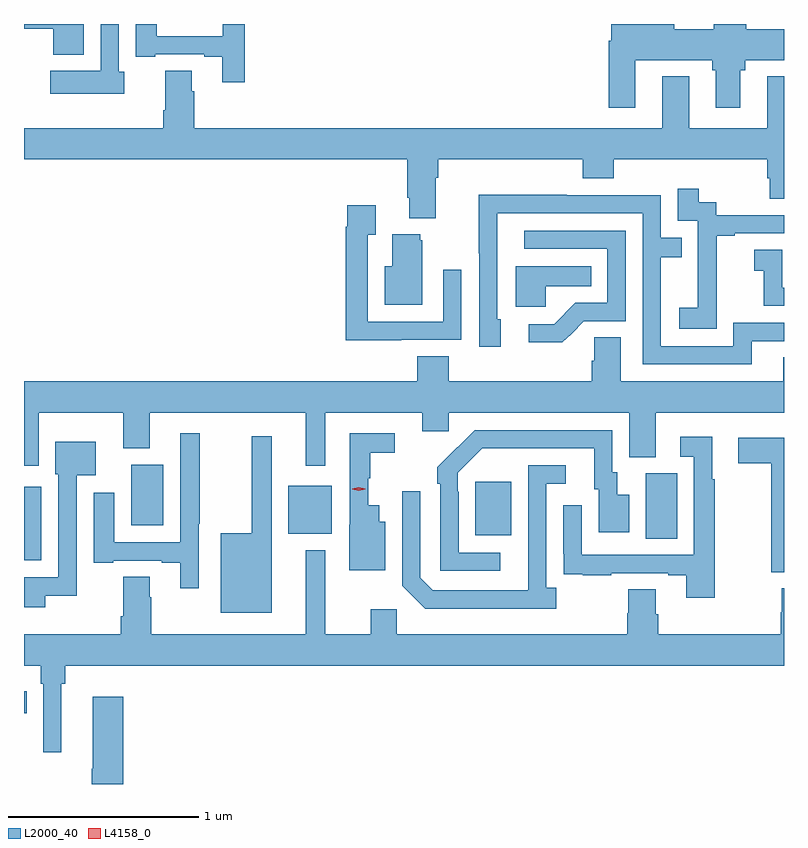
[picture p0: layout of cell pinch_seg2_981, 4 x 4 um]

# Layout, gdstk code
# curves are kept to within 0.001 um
import gdstk
lib = gdstk.Library(unit=1e-6, precision=1e-09)
def R(c, l, rs):  # rectangles x0, y0, x1, y1
    for r in rs: c.add(gdstk.rectangle(r[:2], r[2:], *l))
def P(c, l, *ps):  # polygons
    for p in ps: c.add(gdstk.Polygon(p, *l))
L2000_40 = (2000, 40)
L4158_0 = (4158, 0)

pinch_seg2_981 = lib.new_cell('pinch_seg2_981')
R(pinch_seg2_981, L2000_40, [(239.123,586.114,239.138,586.23), (239.123,586.919,239.215,587.305), (242.396,587.032,242.56,587.376), (241.499,587.051,241.687,587.332), (240.515,587.057,240.742,587.311), (239.687,587.102,239.857,587.422)])
P(pinch_seg2_981, L2000_40, [(242.341,589.55),(242.746,589.55),(242.746,589.497),(242.765,589.497),(242.765,589.299),(242.893,589.299),(242.893,589.497),(242.919,589.497),(242.919,589.55),(243.123,589.55),(243.123,589.714),(242.924,589.714),(242.924,589.741),(242.753,589.741),(242.753,589.714),(242.545,589.714),(242.545,589.741),(242.213,589.741),(242.213,589.654),(242.201,589.654),(242.201,589.299),(242.341,589.299)],
  [(239.437,589.741),(239.123,589.741),(239.123,589.715),(239.276,589.715),(239.276,589.58),(239.437,589.58)],
  [(239.65,589.491),(239.622,589.491),(239.622,589.741),(239.526,589.741),(239.526,589.495),(239.262,589.495),(239.262,589.373),(239.65,589.373)],
  [(240.284,589.741),(240.168,589.741),(240.168,589.677),(239.821,589.677),(239.821,589.741),(239.711,589.741),(239.711,589.569),(239.815,589.569),(239.815,589.581),(240.071,589.581),(240.071,589.569),(240.167,589.569),(240.167,589.434),(240.284,589.434)],
  [(241.291,588.932),(241.304,588.932),(241.304,589.028),(242.063,589.028),(242.063,588.929),(242.228,588.929),(242.228,589.028),(243.035,589.028),(243.035,588.93),(243.047,588.93),(243.047,588.82),(243.123,588.82),(243.123,589.465),(243.035,589.465),(243.035,589.192),(242.623,589.192),(242.623,589.465),(242.483,589.465),(242.483,589.192),(240.02,589.192),(240.02,589.388),(240.007,589.388),(240.007,589.496),(239.867,589.496),(239.867,589.288),(239.855,589.288),(239.855,589.192),(239.123,589.192),(239.123,589.028),(241.139,589.028),(241.139,588.826),(241.151,588.826),(241.151,588.719),(241.291,588.719)],
  [(242.769,588.343),(242.768,588.343),(242.768,588.627),(242.863,588.627),(242.863,588.639),(243.123,588.639),(243.123,588.735),(242.766,588.735),(242.766,588.804),(242.674,588.804),(242.674,588.874),(242.565,588.874),(242.565,588.705),(242.67,588.705),(242.67,588.476),(242.669,588.476),(242.669,588.247),(242.571,588.247),(242.571,588.137),(242.769,588.137)],
  [(242.953,588.072),(243.123,588.072),(243.123,588.168),(242.856,588.168),(242.856,588.045),(242.475,588.045),(242.475,588.514),(242.585,588.514),(242.585,588.615),(242.475,588.615),(242.475,588.84),(241.979,588.84),(241.979,588.842),(241.516,588.842),(241.516,588.535),(241.518,588.535),(241.518,588.042),(241.633,588.042),(241.633,588.186),(241.614,588.186),(241.614,588.49),(241.615,588.49),(241.615,588.744),(242.379,588.744),(242.379,587.949),(242.953,587.949)],
  [(241.109,588.078),(241.425,588.078),(241.425,588.448),(241.329,588.448),(241.329,588.174),(240.933,588.174),(240.933,588.631),(240.973,588.631),(240.973,588.787),(240.825,588.787),(240.825,588.674),(240.817,588.674),(240.817,588.077),(241.109,588.077)],
  [(242.005,588.112),(242.07,588.177),(242.289,588.177),(242.289,588.654),(241.755,588.654),(241.755,588.558),(242.193,588.558),(242.193,588.273),(242.024,588.273),(241.913,588.162),(241.779,588.162),(241.779,588.065),(241.957,588.065)],
  [(241.219,588.603),(241.208,588.603),(241.208,588.634),(241.061,588.634),(241.061,588.466),(241.022,588.466),(241.022,588.263),(241.219,588.263)],
  [(243.123,588.354),(243.114,588.354),(243.114,588.553),(242.967,588.553),(242.967,588.443),(243.016,588.443),(243.016,588.258),(243.123,588.258)],
  [(241.869,588.362),(242.108,588.362),(242.108,588.466),(241.712,588.466),(241.712,588.254),(241.869,588.254)],
  [(239.2,587.696),(239.645,587.696),(239.645,587.507),(239.785,587.507),(239.785,587.696),(240.605,587.696),(240.605,587.415),(240.709,587.415),(240.709,587.696),(241.22,587.696),(241.22,587.598),(241.359,587.598),(241.359,587.696),(242.309,587.696),(242.309,587.461),(242.449,587.461),(242.449,587.696),(243.123,587.696),(243.123,587.987),(243.119,587.987),(243.119,587.86),(242.263,587.86),(242.263,588.092),(242.124,588.092),(242.124,587.969),(242.111,587.969),(242.111,587.86),(241.358,587.86),(241.358,587.993),(241.193,587.993),(241.193,587.86),(239.123,587.86),(239.123,587.415),(239.2,587.415)],
  [(241.63,586.959),(241.41,586.959),(241.41,587.279),(241.407,587.279),(241.407,587.379),(241.536,587.508),(242.123,587.508),(242.123,587.292),(242.147,587.292),(242.147,587.067),(242.308,587.067),(242.308,587.263),(242.245,587.263),(242.245,587.382),(242.22,587.382),(242.22,587.604),(241.496,587.604),(241.299,587.409),(241.299,587.321),(241.314,587.321),(241.314,586.863),(241.63,586.863)],
  [(240.042,587.11),(240.047,587.11),(240.047,587.587),(239.946,587.587),(239.946,587.013),(239.599,587.013),(239.599,587.275),(239.489,587.275),(239.489,586.905),(239.593,586.905),(239.593,586.917),(239.849,586.917),(239.849,586.905),(239.945,586.905),(239.945,586.77),(240.042,586.77)],
  [(241.024,587.122),(240.994,587.122),(240.994,587.209),(240.935,587.209),(240.935,587.349),(240.946,587.349),(240.946,587.485),(241.075,587.485),(241.075,587.586),(240.837,587.586),(240.837,587.105),(240.836,587.105),(240.836,586.865),(241.024,586.865)],
  [(240.427,587.572),(240.321,587.572),(240.321,587.062),(240.158,587.062),(240.158,586.643),(240.427,586.643)],
  [(242.758,587.345),(242.746,587.345),(242.746,587.569),(242.577,587.569),(242.577,587.463),(242.649,587.463),(242.649,586.947),(242.058,586.947),(242.058,587.209),(241.962,587.209),(241.962,586.954),(241.963,586.954),(241.963,586.845),(242.065,586.845),(242.065,586.839),(242.213,586.839),(242.213,586.851),(242.513,586.851),(242.513,586.839),(242.609,586.839),(242.609,586.722),(242.758,586.722)],
  [(243.123,587.563),(242.883,587.563),(242.883,587.429),(243.055,587.429),(243.055,586.856),(243.123,586.856)],
  [(239.236,586.733),(239.4,586.733),(239.4,587.366),(239.5,587.366),(239.5,587.542),(239.288,587.542),(239.288,587.37),(239.304,587.37),(239.304,586.83),(239.123,586.83),(239.123,586.67),(239.236,586.67)],
  [(241.924,586.774),(241.872,586.774),(241.872,587.322),(241.975,587.322),(241.975,587.418),(241.776,587.418),(241.776,586.761),(241.275,586.761),(241.209,586.827),(241.209,587.281),(241.113,587.281),(241.113,586.785),(241.234,586.664),(241.924,586.664)],
  [(239.32,586.268),(239.339,586.268),(239.339,586.364),(243.123,586.364),(243.123,586.771),(243.112,586.771),(243.112,586.644),(243.107,586.644),(243.107,586.528),(242.462,586.528),(242.462,586.634),(242.449,586.634),(242.449,586.766),(242.302,586.766),(242.302,586.641),(242.297,586.641),(242.297,586.528),(241.086,586.528),(241.086,586.66),(240.947,586.66),(240.947,586.528),(240.709,586.528),(240.709,586.972),(240.605,586.972),(240.605,586.528),(239.793,586.528),(239.793,586.724),(239.785,586.724),(239.785,586.832),(239.645,586.832),(239.645,586.624),(239.633,586.624),(239.633,586.528),(239.123,586.528),(239.123,586.364),(239.21,586.364),(239.21,586.268),(239.223,586.268),(239.223,585.909),(239.32,585.909)],
  [(239.645,586.201),(239.486,586.201),(239.486,585.821),(239.479,585.821),(239.479,585.741),(239.645,585.741)])
P(pinch_seg2_981, L4158_0, [(240.885,587.284),(240.851,587.293),(240.85,587.294),(240.851,587.294),(240.885,587.304),(240.92,587.294),(240.92,587.294),(240.92,587.293)])

lib.write_gds('pinch_seg2_981.gds')
